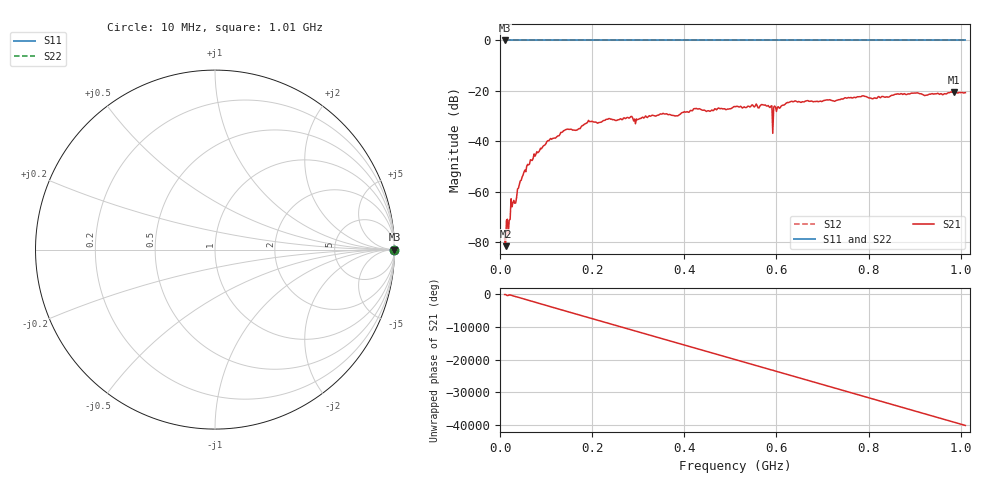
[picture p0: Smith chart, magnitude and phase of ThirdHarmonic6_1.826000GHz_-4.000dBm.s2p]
! 8/16/2025 10:07:08 PM
! C:\ANRITSUVNA\TEMP\TEMP.S2P
! CHANNEL.1
! TR.MEASUREMENT
! RAW.DATA
! RF.CORRECTION.OFF
! AVERAGING.OFF
! IF.BANDWIDTH: 5KHZ
! SWEEPTYPE:  FREQ.SWEEP(Linear)
! Reference Plane Port Info
! PORT:  PORT1  PORT2
! DISTANCE:  0  m  0  m
! TIME:  0  s  0  s
! PHASE.OFFSET:  0  deg.  0  deg.
! LOSS:  0  dB  0  dB
! REF.LOSS:  0  dB  0  dB
! REF.FREQ:  0  Hz  0  Hz
! Power Info
! POWER:  -20  dBm  -20  dBm
! EFF.POWER:  -20  dBm  -20  dBm
! SOURCE.ATTEN:  0  dB  0  dB
! TEST.ATTEN:  0  dB  0  dB
# GHZ S RI R 50.0
! FREQ.GHZ  S11RE  S11IM  S21RE  S21IM  S12RE  S12IM  S22RE  S22IM
!; PortSelection: Port_12
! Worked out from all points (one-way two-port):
!   501 points, 10 MHz to 1.01 GHz, reference 50 ohm
!   highest |S21| = -20.40 dB at 986 MHz (marker M1); lowest = -81.5 dB at 12 MHz (marker M2)
!   lowest |S11| = 0.0 dB at 10 MHz (marker M3)
!   |S11| at or under -10 dB: nowhere
!   |S22| runs from 0.0 to 0.0 dB; largest |S21 - S12| = 1.1
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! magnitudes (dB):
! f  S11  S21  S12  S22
! 10 MHz  0.0  -78.4  0.0  0.0
! 12 MHz  0.0  -81.5  0.0  0.0
! 28 MHz  0.0  -64.4  0.0  0.0
! 32 MHz  0.0  -64.5  0.0  0.0
! 42 MHz  0.0  -57.0  0.0  0.0
! 70 MHz  0.0  -47.5  0.0  0.0
! 106 MHz  0.0  -39.7  0.0  0.0
! 142 MHz  0.0  -35.4  0.0  0.0
! 178 MHz  0.0  -33.8  0.0  0.0
! 196 MHz  0.0  -32.1  0.0  0.0
! 282 MHz  0.0  -30.5  0.0  0.0
! 294 MHz  0.0  -33.0  0.0  0.0
! 344 MHz  0.0  -29.6  0.0  0.0
! 510 MHz  0.0  -26.2  0.0  0.0
! 572 MHz  0.0  -25.6  0.0  0.0
! 596 MHz  0.0  -26.0  0.0  0.0
! 598 MHz  0.0  -26.4  0.0  0.0
! 628 MHz  0.0  -24.4  0.0  0.0
! 678 MHz  0.0  -24.1  0.0  0.0
! 844 MHz  0.0  -22.4  0.0  0.0
! 986 MHz  0.0  -20.4  0.0  0.0
! 1.01 GHz  0.0  -20.7  0.0  0.0
